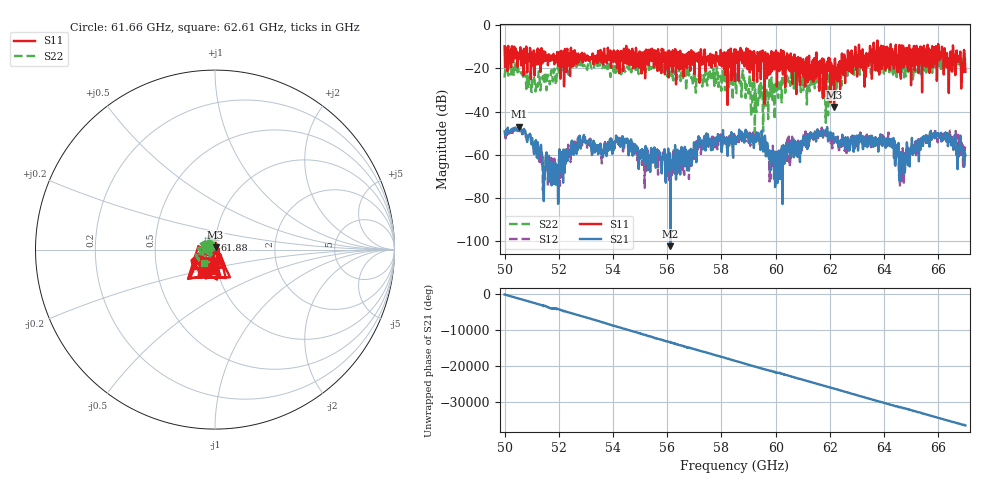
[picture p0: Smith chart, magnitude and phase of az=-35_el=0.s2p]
!Created with skrf (http://scikit-rf.org).
# GHz S RI R 50.0
!freq ReS11 ImS11 ReS21 ImS21 ReS12 ImS12 ReS22 ImS22
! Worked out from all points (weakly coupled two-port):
!   1001 points, 50 GHz to 67 GHz, reference 50 ohm
!   highest |S21| = -46.96 dB at 50.53 GHz (marker M1); lowest = -102.4 dB at 56.12 GHz (marker M2)
!   lowest |S11| = -37.9 dB at 62.16 GHz (marker M3), VSWR 1.03, Z = 50.3 + j1.25 ohm
!   |S11| at or under -10 dB: 50.8 GHz to 54.49 GHz (3.685 GHz wide, 7 % of centre); 54.49 GHz to 62.94 GHz (8.447 GHz wide, 14.4 % of centre); 66.55 GHz to end of sweep (the widest 3 of 32)
!   |S22| runs from -49.7 to -13.8 dB; largest |S21 - S12| = 0.002
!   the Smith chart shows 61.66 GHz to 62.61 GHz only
!   S11 on the Smith chart (normalised r, x): 61.66 GHz: 0.98, -0.15; 61.88 GHz: 0.99, +0.11; 62.61 GHz: 0.87, -0.11
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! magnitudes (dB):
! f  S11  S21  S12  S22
! 50 GHz  -9.7  -49.2  -50.4  -24.2
! 50.53 GHz  -12.7  -47.0  -47.1  -21.7
! 51.07 GHz  -11.7  -58.8  -57.3  -23.8
! 51.39 GHz  -17.7  -61.9  -60.9  -24.2
! 51.9 GHz  -14.3  -69.4  -68.9  -27.6
! 52.84 GHz  -13.4  -54.3  -54.5  -19.6
! 55.68 GHz  -13.7  -58.8  -58.0  -21.7
! 56.12 GHz  -12.5  -102.4  -69.4  -20.9
! 56.82 GHz  -17.6  -63.8  -60.0  -22.7
! 57.19 GHz  -26.6  -52.5  -51.9  -26.2
! 58.5 GHz  -25.8  -51.2  -54.6  -24.2
! 59.4 GHz  -21.2  -53.7  -55.7  -27.9
! 60.05 GHz  -28.4  -58.9  -61.8  -27.1
! 61.34 GHz  -25.2  -51.7  -49.9  -25.2
! 61.66 GHz  -22.1  -49.8  -51.9  -27.1
! 61.88 GHz  -25.1  -50.1  -49.2  -23.5
! 62.16 GHz  -37.9  -54.5  -54.1  -29.0
! 62.61 GHz  -20.7  -53.2  -59.3  -20.1
! 64.18 GHz  -18.2  -54.9  -51.3  -18.3
! 64.67 GHz  -12.9  -60.2  -72.2  -22.7
! 65.81 GHz  -19.3  -50.3  -50.3  -16.7
! 67 GHz  -21.5  -60.4  -56.1  -15.6
